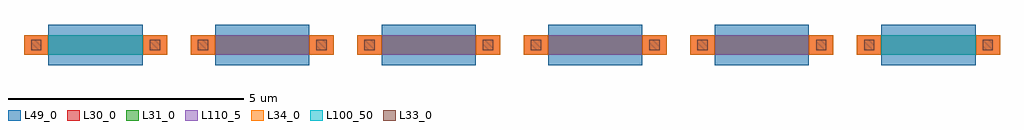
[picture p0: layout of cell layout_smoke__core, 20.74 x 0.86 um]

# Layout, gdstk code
import gdstk
lib = gdstk.Library(unit=1e-6, precision=5e-10)
def R(c, l, rs):  # rectangles x0, y0, x1, y1
    for r in rs: c.add(gdstk.rectangle(r[:2], r[2:], *l))
def A(c, l, x, y, w, h, nx, ny, dx, dy):  # array of equal rectangles
    R(c, l, [(x+i*dx, y+j*dy, x+i*dx+w, y+j*dy+h) for i in range(nx) for j in range(ny)])
L30_0 = (30, 0)
L31_0 = (31, 0)
L33_0 = (33, 0)
L34_0 = (34, 0)
L49_0 = (49, 0)
L100_50 = (100, 50)
L110_5 = (110, 5)

layout_smoke__core = lib.new_cell('layout_smoke__core')
A(layout_smoke__core, L30_0, -3.54, 0, 3.04, 0.42, 6, 1, 3.54, 0)
A(layout_smoke__core, L31_0, -3.02, 0, 2, 0.42, 6, 1, 3.54, 0)
R(layout_smoke__core, L33_0, [(-3.39,0.1,-3.17,0.32), (-0.87,0.1,-0.65,0.32), (0.15,0.1,0.37,0.32), (2.67,0.1,2.89,0.32), (3.69,0.1,3.91,0.32), (6.21,0.1,6.43,0.32), (7.23,0.1,7.45,0.32), (9.75,0.1,9.97,0.32), (10.77,0.1,10.99,0.32), (13.29,0.1,13.51,0.32), (14.31,0.1,14.53,0.32), (16.83,0.1,17.05,0.32)])
R(layout_smoke__core, L34_0, [(-3.54,0,-3.02,0.42), (-1.02,0,-0.5,0.42), (0,0,0.52,0.42), (2.52,0,3.04,0.42), (3.54,0,4.06,0.42), (6.06,0,6.58,0.42), (7.08,0,7.6,0.42), (9.6,0,10.12,0.42), (10.62,0,11.14,0.42), (13.14,0,13.66,0.42), (14.16,0,14.68,0.42), (16.68,0,17.2,0.42)])
A(layout_smoke__core, L49_0, -3.02, -0.22, 2, 0.86, 6, 1, 3.54, 0)
R(layout_smoke__core, L100_50, [(-3.02,0,-1.02,0.42), (14.68,0,16.68,0.42)])
A(layout_smoke__core, L110_5, -3.02, 0, 2, 0.42, 6, 1, 3.54, 0)

lib.write_gds('layout_smoke__core.gds')
